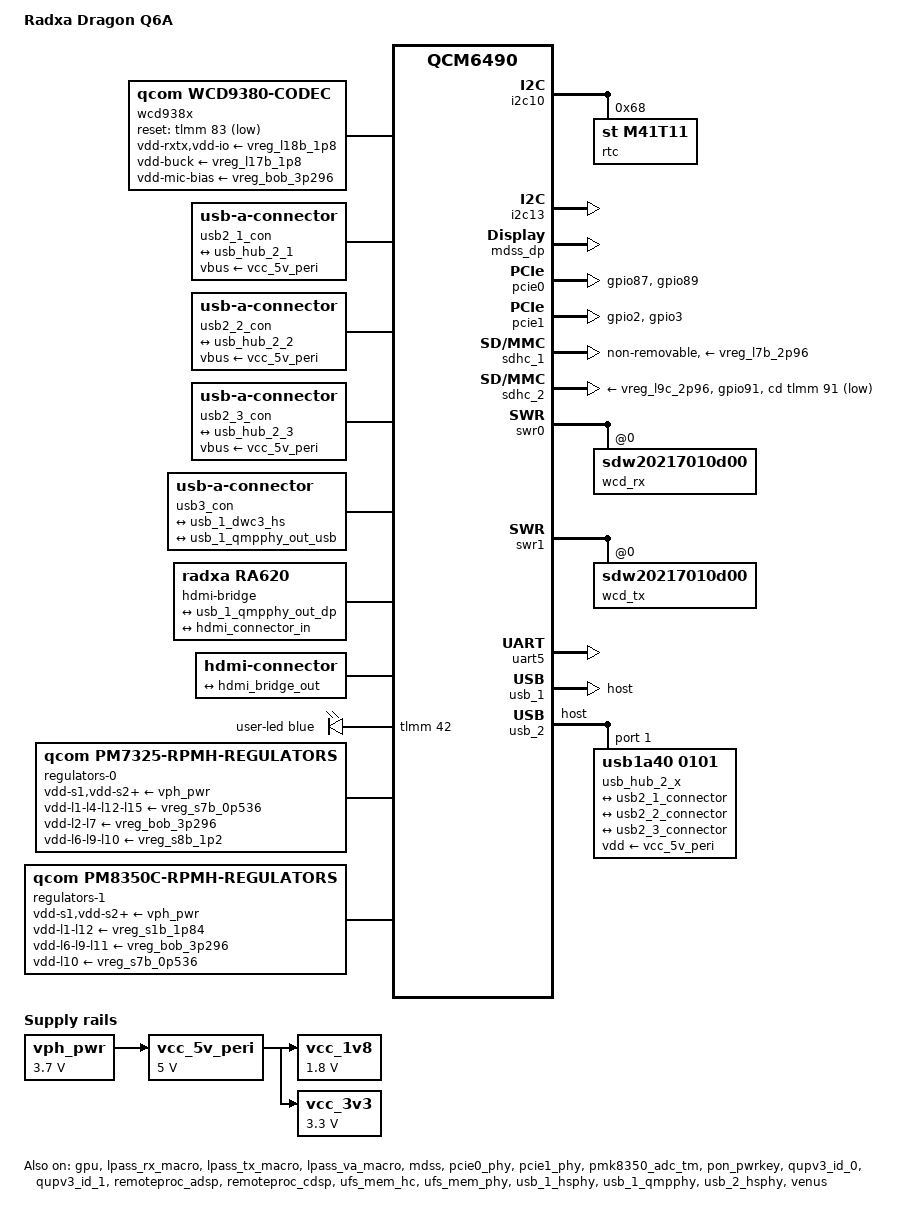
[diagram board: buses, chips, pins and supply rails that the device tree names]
// SPDX-License-Identifier: BSD-3-Clause
/*
 * Copyright (c) 2025 Radxa Computer (Shenzhen) Co., Ltd.
 */

/dts-v1/;

/* PM7250B is configured to use SID8/9 */
#define PM7250B_SID 8
#define PM7250B_SID1 9

#include <dt-bindings/iio/qcom,spmi-adc7-pmk8350.h>
#include <dt-bindings/iio/qcom,spmi-adc7-pm7325.h>
#include <dt-bindings/leds/common.h>
#include <dt-bindings/pinctrl/qcom,pmic-gpio.h>
#include <dt-bindings/regulator/qcom,rpmh-regulator.h>
#include "kodiak.dtsi"
#include "pm7250b.dtsi"
#include "pm7325.dtsi"
#include "pm8350c.dtsi" /* PM7350C */
#include "pmk8350.dtsi" /* PMK7325 */
#include "qcs6490-audioreach.dtsi"

/delete-node/ &adsp_mem;
/delete-node/ &adsp_rpc_remote_heap_mem;
/delete-node/ &cdsp_mem;
/delete-node/ &gpu_zap_mem;
/delete-node/ &ipa_fw_mem;
/delete-node/ &mpss_mem;
/delete-node/ &remoteproc_mpss;
/delete-node/ &remoteproc_wpss;
/delete-node/ &rmtfs_mem;
/delete-node/ &video_mem;
/delete-node/ &wifi;
/delete-node/ &wlan_ce_mem;
/delete-node/ &wlan_fw_mem;
/delete-node/ &wpss_mem;

/ {
	model = "Radxa Dragon Q6A";
	compatible = "radxa,dragon-q6a", "qcom,qcm6490";
	chassis-type = "embedded";

	aliases {
		mmc0 = &sdhc_1;
		mmc1 = &sdhc_2;
		serial0 = &uart5;
	};

	wcd938x: audio-codec {
		compatible = "qcom,wcd9380-codec";

		pinctrl-0 = <&wcd_default>;
		pinctrl-names = "default";

		reset-gpios = <&tlmm 83 GPIO_ACTIVE_LOW>;

		vdd-rxtx-supply = <&vreg_l18b_1p8>;
		vdd-io-supply = <&vreg_l18b_1p8>;
		vdd-buck-supply = <&vreg_l17b_1p8>;
		vdd-mic-bias-supply = <&vreg_bob_3p296>;

		qcom,micbias1-microvolt = <1800000>;
		qcom,micbias2-microvolt = <1800000>;
		qcom,micbias3-microvolt = <1800000>;
		qcom,micbias4-microvolt = <1800000>;
		qcom,mbhc-buttons-vthreshold-microvolt = <75000 150000 237000 500000 500000 500000 500000 500000>;
		qcom,mbhc-headset-vthreshold-microvolt = <1700000>;
		qcom,mbhc-headphone-vthreshold-microvolt = <50000>;
		qcom,rx-device = <&wcd_rx>;
		qcom,tx-device = <&wcd_tx>;

		qcom,hphl-jack-type-normally-closed;

		#sound-dai-cells = <1>;
	};

	chosen {
		stdout-path = "serial0:115200n8";
	};

	usb2_1_con: connector-0 {
		compatible = "usb-a-connector";
		vbus-supply = <&vcc_5v_peri>;

		port {
			usb2_1_connector: endpoint {
				remote-endpoint = <&usb_hub_2_1>;
			};
		};
	};

	usb2_2_con: connector-1 {
		compatible = "usb-a-connector";
		vbus-supply = <&vcc_5v_peri>;

		port {
			usb2_2_connector: endpoint {
				remote-endpoint = <&usb_hub_2_2>;
			};
		};
	};

	usb2_3_con: connector-2 {
		compatible = "usb-a-connector";
		vbus-supply = <&vcc_5v_peri>;

		port {
			usb2_3_connector: endpoint {
				remote-endpoint = <&usb_hub_2_3>;
			};
		};
	};

	usb3_con: connector {
		compatible = "usb-a-connector";

		ports {
			#address-cells = <1>;
			#size-cells = <0>;

			port@0 {
				reg = <0>;

				usb3_con_hs_in: endpoint {
					remote-endpoint = <&usb_1_dwc3_hs>;
				};
			};

			port@1 {
				reg = <1>;

				usb3_con_ss_in: endpoint {
					remote-endpoint = <&usb_1_qmpphy_out_usb>;
				};
			};
		};
	};

	hdmi-bridge {
		compatible = "radxa,ra620";

		pinctrl-0 = <&dp_hot_plug_det>;
		pinctrl-names = "default";

		ports {
			#address-cells = <1>;
			#size-cells = <0>;

			port@0 {
				reg = <0>;

				hdmi_bridge_in: endpoint {
					remote-endpoint = <&usb_1_qmpphy_out_dp>;
				};
			};

			port@1 {
				reg = <1>;

				hdmi_bridge_out: endpoint {
					remote-endpoint = <&hdmi_connector_in>;
				};
			};
		};
	};

	hdmi-connector {
		compatible = "hdmi-connector";
		label = "hdmi";
		type = "a";

		port {
			hdmi_connector_in: endpoint {
				remote-endpoint = <&hdmi_bridge_out>;
			};
		};
	};

	leds {
		compatible = "gpio-leds";

		pinctrl-0 = <&user_led>;
		pinctrl-names = "default";

		user-led {
			color = <LED_COLOR_ID_BLUE>;
			function = LED_FUNCTION_STATUS;
			gpios = <&tlmm 42 GPIO_ACTIVE_HIGH>;
			linux,default-trigger = "heartbeat";
		};
	};

	reserved-memory {
		lpass_ml_mem: lpass-ml@81800000 {
			reg = <0x0 0x81800000 0x0 0xf00000>;
			no-map;
		};

		cdsp_secure_heap_mem: cdsp-secure-heap@82700000 {
			reg = <0x0 0x82700000 0x0 0x10000>;
			no-map;
		};

		video_mem: video@85b00000 {
			reg = <0x0 0x85b00000 0x0 0x700000>;
			no-map;
		};

		adsp_mem: adsp@8b800000 {
			reg = <0x0 0x8b800000 0x0 0x2800000>;
			no-map;
		};

		cdsp_mem: cdsp@8e000000 {
			reg = <0x0 0x8e000000 0x0 0x1e00000>;
			no-map;
		};

		gpu_zap_mem: zap@90300000 {
			reg = <0x0 0x90300000 0x0 0x5000>;
			no-map;
		};

		tz_stat_mem: tz-stat@c0000000 {
			reg = <0x0 0xc0000000 0x0 0x100000>;
			no-map;
		};

		tags_mem: tags@c0100000 {
			reg = <0x0 0xc0100000 0x0 0x1200000>;
			no-map;
		};

		qtee_mem: qtee@c1300000 {
			reg = <0x0 0xc1300000 0x0 0x500000>;
			no-map;
		};

		trusted_apps_mem: trusted-apps@c1800000 {
			reg = <0x0 0xc1800000 0x0 0x2200000>;
			no-map;
		};

		adsp_rpc_remote_heap_mem: adsp-rpc-remote-heap@c6500000 {
			reg = <0x0 0xc6500000 0x0 0x800000>;
			no-map;
		};

		iris_iova: iris-iova {
			iommu-addresses = <&venus 0x0 0x0 0x0 0x25800000>;
		};
	};

	thermal-zones {
		msm-skin-thermal {
			polling-delay-passive = <0>;
			thermal-sensors = <&pmk8350_adc_tm 2>;
		};

		quiet-thermal {
			polling-delay-passive = <0>;
			thermal-sensors = <&pmk8350_adc_tm 1>;
		};

		ufs-thermal {
			polling-delay-passive = <0>;
			thermal-sensors = <&pmk8350_adc_tm 3>;
		};

		xo-thermal {
			polling-delay-passive = <0>;
			thermal-sensors = <&pmk8350_adc_tm 0>;
		};
	};

	vcc_1v8: regulator-vcc-1v8 {
		compatible = "regulator-fixed";
		regulator-name = "vcc_1v8";
		regulator-min-microvolt = <1800000>;
		regulator-max-microvolt = <1800000>;
		vin-supply = <&vcc_5v_peri>;

		regulator-boot-on;
		regulator-always-on;
	};

	vcc_3v3: regulator-vcc-3v3 {
		compatible = "regulator-fixed";
		regulator-name = "vcc_3v3";
		regulator-min-microvolt = <3300000>;
		regulator-max-microvolt = <3300000>;
		vin-supply = <&vcc_5v_peri>;

		regulator-boot-on;
		regulator-always-on;
	};

	vcc_5v_peri: regulator-vcc-5v-peri {
		compatible = "regulator-fixed";
		regulator-name = "vcc_5v_peri";
		regulator-min-microvolt = <5000000>;
		regulator-max-microvolt = <5000000>;
		vin-supply = <&vph_pwr>;

		regulator-boot-on;
		regulator-always-on;
	};

	vph_pwr: regulator-vph-pwr {
		compatible = "regulator-fixed";
		regulator-name = "vph_pwr";
		regulator-min-microvolt = <3700000>;
		regulator-max-microvolt = <3700000>;

		regulator-boot-on;
		regulator-always-on;
	};
};

&apps_rsc {
	regulators-0 {
		compatible = "qcom,pm7325-rpmh-regulators";
		qcom,pmic-id = "b";

		vdd-s1-supply = <&vph_pwr>;
		vdd-s2-supply = <&vph_pwr>;
		vdd-s3-supply = <&vph_pwr>;
		vdd-s4-supply = <&vph_pwr>;
		vdd-s5-supply = <&vph_pwr>;
		vdd-s6-supply = <&vph_pwr>;
		vdd-s7-supply = <&vph_pwr>;
		vdd-s8-supply = <&vph_pwr>;
		vdd-l1-l4-l12-l15-supply = <&vreg_s7b_0p536>;
		vdd-l2-l7-supply = <&vreg_bob_3p296>;
		vdd-l6-l9-l10-supply = <&vreg_s8b_1p2>;
		vdd-l11-l17-l18-l19-supply = <&vreg_s1b_1p84>;

		vreg_s1b_1p84: smps1 {
			regulator-name = "vreg_s1b_1p84";
			regulator-min-microvolt = <1840000>;
			regulator-max-microvolt = <2040000>;
		};

		vreg_s7b_0p536: smps7 {
			regulator-name = "vreg_s7b_0p536";
			regulator-min-microvolt = <536000>;
			regulator-max-microvolt = <1120000>;
		};

		vreg_s8b_1p2: smps8 {
			regulator-name = "vreg_s8b_1p2";
			regulator-min-microvolt = <1200000>;
			regulator-max-microvolt = <1496000>;
			regulator-initial-mode = <RPMH_REGULATOR_MODE_RET>;
		};

		vreg_l1b_0p912: ldo1 {
			regulator-name = "vreg_l1b_0p912";
			regulator-min-microvolt = <832000>;
			regulator-max-microvolt = <920000>;
			regulator-initial-mode = <RPMH_REGULATOR_MODE_HPM>;
			regulator-allow-set-load;
			regulator-allowed-modes = <RPMH_REGULATOR_MODE_LPM
							RPMH_REGULATOR_MODE_HPM>;
		};

		vreg_l2b_3p072: ldo2 {
			regulator-name = "vreg_l2b_3p072";
			regulator-min-microvolt = <2704000>;
			regulator-max-microvolt = <3544000>;
			regulator-initial-mode = <RPMH_REGULATOR_MODE_HPM>;
			regulator-allow-set-load;
			regulator-allowed-modes = <RPMH_REGULATOR_MODE_LPM
							RPMH_REGULATOR_MODE_HPM>;
		};

		vreg_l6b_1p2: ldo6 {
			regulator-name = "vreg_l6b_1p2";
			regulator-min-microvolt = <1200000>;
			regulator-max-microvolt = <1256000>;
			regulator-initial-mode = <RPMH_REGULATOR_MODE_HPM>;
			regulator-allow-set-load;
			regulator-allowed-modes = <RPMH_REGULATOR_MODE_LPM
							RPMH_REGULATOR_MODE_HPM>;
		};

		vreg_l7b_2p96: ldo7 {
			regulator-name = "vreg_l7b_2p96";
			regulator-min-microvolt = <2960000>;
			regulator-max-microvolt = <2960000>;
			regulator-initial-mode = <RPMH_REGULATOR_MODE_HPM>;
			regulator-allow-set-load;
			regulator-allowed-modes = <RPMH_REGULATOR_MODE_LPM
							RPMH_REGULATOR_MODE_HPM>;
		};

		vreg_l9b_1p2: ldo9 {
			regulator-name = "vreg_l9b_1p2";
			regulator-min-microvolt = <1200000>;
			regulator-max-microvolt = <1304000>;
			regulator-initial-mode = <RPMH_REGULATOR_MODE_HPM>;
			regulator-allow-set-load;
			regulator-allowed-modes = <RPMH_REGULATOR_MODE_LPM
						   RPMH_REGULATOR_MODE_HPM>;
		};

		vreg_l17b_1p8: ldo17 {
			regulator-name = "vreg_l17b_1p8";
			regulator-min-microvolt = <1800000>;
			regulator-max-microvolt = <1896000>;
			regulator-initial-mode = <RPMH_REGULATOR_MODE_HPM>;
		};

		vreg_l18b_1p8: ldo18 {
			regulator-name = "vreg_l18b_1p8";
			regulator-min-microvolt = <1800000>;
			regulator-max-microvolt = <2000000>;
			regulator-initial-mode = <RPMH_REGULATOR_MODE_HPM>;
			regulator-always-on;
		};

		vreg_l19b_1p8: ldo19 {
			regulator-name = "vreg_l19b_1p8";
			regulator-min-microvolt = <1800000>;
			regulator-max-microvolt = <2000000>;
			regulator-initial-mode = <RPMH_REGULATOR_MODE_HPM>;
			regulator-allow-set-load;
			regulator-allowed-modes = <RPMH_REGULATOR_MODE_LPM
						   RPMH_REGULATOR_MODE_HPM>;
		};
	};

	regulators-1 {
		compatible = "qcom,pm8350c-rpmh-regulators";
		qcom,pmic-id = "c";

		vdd-s1-supply = <&vph_pwr>;
		vdd-s2-supply = <&vph_pwr>;
		vdd-s3-supply = <&vph_pwr>;
		vdd-s4-supply = <&vph_pwr>;
		vdd-s5-supply = <&vph_pwr>;
		vdd-s6-supply = <&vph_pwr>;
		vdd-s7-supply = <&vph_pwr>;
		vdd-s8-supply = <&vph_pwr>;
		vdd-s9-supply = <&vph_pwr>;
		vdd-s10-supply = <&vph_pwr>;
		vdd-l1-l12-supply = <&vreg_s1b_1p84>;
		vdd-l6-l9-l11-supply = <&vreg_bob_3p296>;
		vdd-l10-supply = <&vreg_s7b_0p536>;
		vdd-bob-supply = <&vph_pwr>;

		vreg_l1c_1p8: ldo1 {
			regulator-name = "vreg_l1c_1p8";
			regulator-min-microvolt = <1800000>;
			regulator-max-microvolt = <1976000>;
			regulator-initial-mode = <RPMH_REGULATOR_MODE_HPM>;
			regulator-allow-set-load;
			regulator-allowed-modes = <RPMH_REGULATOR_MODE_LPM
						   RPMH_REGULATOR_MODE_HPM>;
		};

		vreg_l6c_2p96: ldo6 {
			regulator-name = "vreg_l6c_2p96";
			regulator-min-microvolt = <1650000>;
			regulator-max-microvolt = <3544000>;
			regulator-initial-mode = <RPMH_REGULATOR_MODE_HPM>;
			regulator-allow-set-load;
			regulator-allowed-modes = <RPMH_REGULATOR_MODE_LPM
						   RPMH_REGULATOR_MODE_HPM>;
		};

		vreg_l9c_2p96: ldo9 {
			regulator-name = "vreg_l9c_2p96";
			regulator-min-microvolt = <2704000>;
			regulator-max-microvolt = <3544000>;
			regulator-initial-mode = <RPMH_REGULATOR_MODE_HPM>;
			regulator-allow-set-load;
			regulator-allowed-modes = <RPMH_REGULATOR_MODE_LPM
						   RPMH_REGULATOR_MODE_HPM>;
		};

		vreg_l10c_0p88: ldo10 {
			regulator-name = "vreg_l10c_0p88";
			regulator-min-microvolt = <720000>;
			regulator-max-microvolt = <1048000>;
			regulator-initial-mode = <RPMH_REGULATOR_MODE_HPM>;
			regulator-allow-set-load;
			regulator-allowed-modes = <RPMH_REGULATOR_MODE_LPM
						   RPMH_REGULATOR_MODE_HPM>;
		};

		vreg_bob_3p296: bob {
			regulator-name = "vreg_bob_3p296";
			regulator-min-microvolt = <3032000>;
			regulator-max-microvolt = <3960000>;
		};
	};
};

&gcc {
	protected-clocks = <GCC_CFG_NOC_LPASS_CLK>,
			   <GCC_MSS_CFG_AHB_CLK>,
			   <GCC_MSS_GPLL0_MAIN_DIV_CLK_SRC>,
			   <GCC_MSS_OFFLINE_AXI_CLK>,
			   <GCC_MSS_Q6SS_BOOT_CLK_SRC>,
			   <GCC_MSS_Q6_MEMNOC_AXI_CLK>,
			   <GCC_MSS_SNOC_AXI_CLK>,
			   <GCC_QSPI_CNOC_PERIPH_AHB_CLK>,
			   <GCC_QSPI_CORE_CLK>,
			   <GCC_QSPI_CORE_CLK_SRC>,
			   <GCC_SEC_CTRL_CLK_SRC>,
			   <GCC_WPSS_AHB_BDG_MST_CLK>,
			   <GCC_WPSS_AHB_CLK>,
			   <GCC_WPSS_RSCP_CLK>;
};

&gpi_dma0 {
	status = "okay";
};

&gpi_dma1 {
	status = "okay";
};

&gpu {
	status = "okay";
};

&gpu_zap_shader {
	firmware-name = "qcom/qcs6490/a660_zap.mbn";
};

&i2c10 {
	qcom,enable-gsi-dma;
	status = "okay";

	rtc: rtc@68 {
		compatible = "st,m41t11";
		reg = <0x68>;
	};
};

/* External touchscreen */
&i2c13 {
	qcom,enable-gsi-dma;
	status = "okay";
};

&lpass_audiocc {
	compatible = "qcom,qcm6490-lpassaudiocc";
	/delete-property/ power-domains;
};

&lpass_rx_macro {
	status = "okay";
};

&lpass_tx_macro {
	status = "okay";
};

&lpass_va_macro {
	status = "okay";
};

&mdss {
	status = "okay";
};

&mdss_dp {
	sound-name-prefix = "Display Port0";

	status = "okay";
};

&mdss_dp_out {
	data-lanes = <0 1>;
	remote-endpoint = <&usb_dp_qmpphy_dp_in>;
};

&pcie0 {
	perst-gpios = <&tlmm 87 GPIO_ACTIVE_LOW>;
	wake-gpios = <&tlmm 89 GPIO_ACTIVE_HIGH>;

	pinctrl-0 = <&pcie0_clkreq_n>, <&pcie0_reset_n>, <&pcie0_wake_n>;
	pinctrl-names = "default";

	status = "okay";
};

&pcie0_phy {
	vdda-phy-supply = <&vreg_l10c_0p88>;
	vdda-pll-supply = <&vreg_l6b_1p2>;

	status = "okay";
};

&pcie1 {
	perst-gpios = <&tlmm 2 GPIO_ACTIVE_LOW>;
	wake-gpios = <&tlmm 3 GPIO_ACTIVE_HIGH>;

	pinctrl-0 = <&pcie1_clkreq_n>, <&pcie1_reset_n>, <&pcie1_wake_n>;
	pinctrl-names = "default";

	/*
	* Support for many different bus topologies
	* Tested devices:
	* - QPS615 PCIe switch
	* - ASM1182e PCIe switch
	* - ASM2824 PCIe switch
	* - NVIDIA dGPU
	* - Chelsio T520-CR
	*/
	iommu-map = <0x0 &apps_smmu 0x1c80 0x1>,
			<0x100 &apps_smmu 0x1c80 0x1>,
			<0x101 &apps_smmu 0x1c80 0x1>,
			<0x102 &apps_smmu 0x1c80 0x1>,
			<0x103 &apps_smmu 0x1c80 0x1>,
			<0x104 &apps_smmu 0x1c80 0x1>,
			<0x105 &apps_smmu 0x1c80 0x1>,
			<0x106 &apps_smmu 0x1c80 0x1>,
			<0x200 &apps_smmu 0x1c80 0x1>,
			<0x208 &apps_smmu 0x1c80 0x1>,
			<0x210 &apps_smmu 0x1c80 0x1>,
			<0x218 &apps_smmu 0x1c80 0x1>,
			<0x220 &apps_smmu 0x1c80 0x1>,
			<0x238 &apps_smmu 0x1c80 0x1>,
			<0x240 &apps_smmu 0x1c80 0x1>,
			<0x260 &apps_smmu 0x1c80 0x1>,
			<0x300 &apps_smmu 0x1c80 0x1>,
			<0x400 &apps_smmu 0x1c80 0x1>,
			<0x500 &apps_smmu 0x1c80 0x1>,
			<0x501 &apps_smmu 0x1c80 0x1>,
			<0x600 &apps_smmu 0x1c80 0x1>;

	status = "okay";
};

&pcie1_phy {
	vdda-phy-supply = <&vreg_l10c_0p88>;
	vdda-pll-supply = <&vreg_l6b_1p2>;

	status = "okay";
};

&pm7325_gpios {
	pinctrl-0 = <&hardware_version_sel>;
	pinctrl-names = "default";
	gpio-line-names = "",	/* GPIO_01 */
			  "UFS_THERM",
			  "Version_ADC",
			  "",
			  "",
			  "KYPD_VOL_UP_N",
			  "Version_SEL",
			  "",
			  "MICRO USB DET",
			  "";

	hardware_version_sel: hardware-version-sel-state {
		pins = "gpio7";
		function = PMIC_GPIO_FUNC_NORMAL;
		bias-high-impedance;
		power-source = <1>;
	};
};

&pm7325_temp_alarm {
	io-channels = <&pmk8350_vadc PM7325_ADC7_DIE_TEMP>;
	io-channel-names = "thermal";
};

&pmk8350_adc_tm {
	status = "okay";

	xo-therm@0 {
		reg = <0>;
		io-channels = <&pmk8350_vadc PMK8350_ADC7_AMUX_THM1_100K_PU>;
		qcom,ratiometric;
		qcom,hw-settle-time-us = <200>;
	};

	quiet-therm@1 {
		reg = <1>;
		io-channels = <&pmk8350_vadc PM7325_ADC7_AMUX_THM1_100K_PU>;
		qcom,ratiometric;
		qcom,hw-settle-time-us = <200>;
	};

	msm-skin-therm@2 {
		reg = <2>;
		io-channels = <&pmk8350_vadc PM7325_ADC7_AMUX_THM3_100K_PU>;
		qcom,ratiometric;
		qcom,hw-settle-time-us = <200>;
	};

	ufs-therm@3 {
		reg = <3>;
		io-channels = <&pmk8350_vadc PM7325_ADC7_GPIO1_100K_PU>;
		qcom,ratiometric;
		qcom,hw-settle-time-us = <200>;
	};
};

&pmk8350_vadc {
	channel@3 {
		reg = <PMK8350_ADC7_DIE_TEMP>;
		label = "pmk7325_die_temp";
		qcom,pre-scaling = <1 1>;
	};

	channel@44 {
		reg = <PMK8350_ADC7_AMUX_THM1_100K_PU>;
		label = "xo_therm";
		qcom,hw-settle-time = <200>;
		qcom,pre-scaling = <1 1>;
		qcom,ratiometric;
	};

	channel@103 {
		reg = <PM7325_ADC7_DIE_TEMP>;
		label = "pm7325_die_temp";
		qcom,pre-scaling = <1 1>;
	};

	channel@10b {
		reg = <PM7325_ADC7_GPIO2>;
		qcom,hw-settle-time = <200>;
		qcom,pre-scaling = <1 1>;
		label = "hardware_version_adc";
	};

	channel@144 {
		reg = <PM7325_ADC7_AMUX_THM1_100K_PU>;
		qcom,ratiometric;
		qcom,hw-settle-time = <200>;
		qcom,pre-scaling = <1 1>;
		label = "quiet_therm";
	};

	channel@146 {
		reg = <PM7325_ADC7_AMUX_THM3_100K_PU>;
		qcom,ratiometric;
		qcom,hw-settle-time = <200>;
		qcom,pre-scaling = <1 1>;
		label = "msm_skin_therm";
	};

	channel@14a {
		/* According to datasheet, 0x4a = AMUX1_GPIO = GPIO_02 */
		reg = <PM7325_ADC7_GPIO1_100K_PU>;
		qcom,ratiometric;
		qcom,hw-settle-time = <200>;
		qcom,pre-scaling = <1 1>;
		label = "ufs_therm";
	};
};

&pon_pwrkey {
	status = "okay";
};

&qupv3_id_0 {
	firmware-name = "qcom/qcm6490/qupv3fw.elf";
	status = "okay";
};

&qupv3_id_1 {
	firmware-name = "qcom/qcm6490/qupv3fw.elf";
	status = "okay";
};

&remoteproc_adsp {
	firmware-name = "qcom/qcs6490/radxa/dragon-q6a/adsp.mbn";
	status = "okay";
};

&remoteproc_cdsp {
	firmware-name = "qcom/qcs6490/radxa/dragon-q6a/cdsp.mbn";
	status = "okay";
};

&sdhc_1 {
	non-removable;
	no-sd;
	no-sdio;

	vmmc-supply = <&vreg_l7b_2p96>;
	vqmmc-supply = <&vreg_l19b_1p8>;

	status = "okay";
};

&sdhc_2 {
	pinctrl-0 = <&sdc2_clk>, <&sdc2_cmd>, <&sdc2_data>, <&sd_cd>;
	pinctrl-1 = <&sdc2_clk_sleep>, <&sdc2_cmd_sleep>, <&sdc2_data_sleep>, <&sd_cd>;

	vmmc-supply = <&vreg_l9c_2p96>;
	vqmmc-supply = <&vreg_l6c_2p96>;

	cd-gpios = <&tlmm 91 GPIO_ACTIVE_LOW>;
	status = "okay";
};

&sound {
	compatible = "qcom,qcs6490-rb3gen2-sndcard";
	model = "QCS6490-Radxa-Dragon-Q6A";

	audio-routing = "IN1_HPHL", "HPHL_OUT",
			"IN2_HPHR", "HPHR_OUT",
			"AMIC2", "MIC BIAS2",
			"TX SWR_ADC1", "ADC2_OUTPUT";

	dp0-dai-link {
		link-name = "DP0 Playback";

		codec {
			sound-dai = <&mdss_dp>;
		};

		cpu {
			sound-dai = <&q6apmbedai DISPLAY_PORT_RX_0>;
		};

		platform {
			sound-dai = <&q6apm>;
		};
	};

	wcd-playback-dai-link {
		link-name = "WCD Playback";

		codec {
			sound-dai = <&wcd938x 0>, <&swr0 0>, <&lpass_rx_macro 0>;
		};

		cpu {
			sound-dai = <&q6apmbedai RX_CODEC_DMA_RX_0>;
		};

		platform {
			sound-dai = <&q6apm>;
		};
	};

	wcd-capture-dai-link {
		link-name = "WCD Capture";

		codec {
			sound-dai = <&wcd938x 1>, <&swr1 0>, <&lpass_tx_macro 0>;
		};

		cpu {
			sound-dai = <&q6apmbedai TX_CODEC_DMA_TX_3>;
		};

		platform {
			sound-dai = <&q6apm>;
		};
	};
};

&swr0 {
	status = "okay";

	wcd_rx: codec@0,4 {
		compatible = "sdw20217010d00";
		reg = <0 4>;
		qcom,rx-port-mapping = <1 2 3 4 5>;
	};
};

&swr1 {
	status = "okay";

	wcd_tx: codec@0,3 {
		compatible = "sdw20217010d00";
		reg = <0 3>;
		qcom,tx-port-mapping = <1 1 2 3>;
	};
};

&tlmm {
	/*
	 * 12-17: reserved for QSPI flash
	 */
	gpio-reserved-ranges = <12 6>;
	gpio-line-names =
		/* GPIO_0 ~ GPIO_3 */
		"PIN_13", "PIN_15", "", "",
		/* GPIO_4 ~ GPIO_7 */
		"", "", "", "",
		/* GPIO_8 ~ GPIO_11 */
		"PIN_27", "PIN_28", "", "",
		/* GPIO_12 ~ GPIO_15 */
		"", "", "", "",
		/* GPIO_16 ~ GPIO_19 */
		"", "", "", "",
		/* GPIO_20 ~ GPIO_23 */
		"", "", "PIN_8", "PIN_10",
		/* GPIO_24 ~ GPIO_27 */
		"PIN_3", "PIN_5", "PIN_16", "PIN_18",
		/* GPIO_28 ~ GPIO_31 */
		"PIN_31", "PIN_11", "PIN_32", "PIN_29",
		/* GPIO_32 ~ GPIO_35 */
		"", "", "", "",
		/* GPIO_36 ~ GPIO_39 */
		"", "", "", "",
		/* GPIO_40 ~ GPIO_43 */
		"", "", "", "",
		/* GPIO_44 ~ GPIO_47 */
		"", "", "", "",
		/* GPIO_48 ~ GPIO_51 */
		"PIN_21", "PIN_19", "PIN_23", "PIN_24",
		/* GPIO_52 ~ GPIO_55 */
		"", "", "", "PIN_26",
		/* GPIO_56 ~ GPIO_59 */
		"PIN_33", "PIN_22", "PIN_37", "PIN_36",
		/* GPIO_60 ~ GPIO_63 */
		"", "", "", "",
		/* GPIO_64 ~ GPIO_67 */
		"", "", "", "",
		/* GPIO_68 ~ GPIO_71 */
		"", "", "", "",
		/* GPIO_72 ~ GPIO_75 */
		"", "", "", "",
		/* GPIO_76 ~ GPIO_79 */
		"", "", "", "",
		/* GPIO_80 ~ GPIO_83 */
		"", "", "", "",
		/* GPIO_84 ~ GPIO_87 */
		"", "", "", "",
		/* GPIO_88 ~ GPIO_91 */
		"", "", "", "",
		/* GPIO_92 ~ GPIO_95 */
		"", "", "", "",
		/* GPIO_96 ~ GPIO_99 */
		"PIN_7", "PIN_12", "PIN_38", "PIN_40",
		/* GPIO_100 ~ GPIO_103 */
		"PIN_35", "", "", "",
		/* GPIO_104 ~ GPIO_107 */
		"", "", "", "",
		/* GPIO_108 ~ GPIO_111 */
		"", "", "", "",
		/* GPIO_112 ~ GPIO_115 */
		"", "", "", "",
		/* GPIO_116 ~ GPIO_119 */
		"", "", "", "",
		/* GPIO_120 ~ GPIO_123 */
		"", "", "", "",
		/* GPIO_124 ~ GPIO_127 */
		"", "", "", "",
		/* GPIO_128 ~ GPIO_131 */
		"", "", "", "",
		/* GPIO_132 ~ GPIO_135 */
		"", "", "", "",
		/* GPIO_136 ~ GPIO_139 */
		"", "", "", "",
		/* GPIO_140 ~ GPIO_143 */
		"", "", "", "",
		/* GPIO_144 ~ GPIO_147 */
		"", "", "", "",
		/* GPIO_148 ~ GPIO_151 */
		"", "", "", "",
		/* GPIO_152 ~ GPIO_155 */
		"", "", "", "",
		/* GPIO_156 ~ GPIO_159 */
		"", "", "", "",
		/* GPIO_160 ~ GPIO_163 */
		"", "", "", "",
		/* GPIO_164 ~ GPIO_167 */
		"", "", "", "",
		/* GPIO_168 ~ GPIO_171 */
		"", "", "", "",
		/* GPIO_172 ~ GPIO_174 */
		"", "", "";

	pcie0_reset_n: pcie0-reset-n-state {
		pins = "gpio87";
		function = "gpio";
		drive-strength = <2>;
		bias-disable;
	};

	pcie0_wake_n: pcie0-wake-n-state {
		pins = "gpio89";
		function = "gpio";
		drive-strength = <2>;
		bias-pull-up;
	};

	pcie1_reset_n: pcie1-reset-n-state {
		pins = "gpio2";
		function = "gpio";
		drive-strength = <2>;
		bias-disable;
	};

	pcie1_wake_n: pcie1-wake-n-state {
		pins = "gpio3";
		function = "gpio";
		drive-strength = <2>;
		bias-pull-up;
	};

	sd_cd: sd-cd-state {
		pins = "gpio91";
		function = "gpio";
		bias-pull-up;
	};

	user_led: user-led-state {
		pins = "gpio42";
		function = "gpio";
		bias-pull-up;
	};

	wcd_default: wcd-reset-n-active-state {
		pins = "gpio83";
		function = "gpio";
		drive-strength = <16>;
		bias-disable;
		output-low;
	};
};

&uart5 {
	status = "okay";
};

&ufs_mem_hc {
	reset-gpios = <&tlmm 175 GPIO_ACTIVE_LOW>;
	vcc-supply = <&vreg_l7b_2p96>;
	vcc-max-microamp = <800000>;
	vccq-supply = <&vreg_l9b_1p2>;
	vccq-max-microamp = <900000>;
	vccq2-supply = <&vreg_l9b_1p2>;
	vccq2-max-microamp = <1300000>;

	/* Gear-4 Rate-B is unstable due to board */
	/* and UFS module design limitations */
	limit-gear-rate = "rate-a";

	status = "okay";
};

&ufs_mem_phy {
	vdda-phy-supply = <&vreg_l10c_0p88>;
	vdda-pll-supply = <&vreg_l6b_1p2>;

	status = "okay";
};

&usb_1 {
	dr_mode = "host";

	status = "okay";
};

&usb_1_dwc3_hs {
	remote-endpoint = <&usb3_con_hs_in>;
};

&usb_1_hsphy {
	vdda-pll-supply = <&vreg_l10c_0p88>;
	vdda33-supply = <&vreg_l2b_3p072>;
	vdda18-supply = <&vreg_l1c_1p8>;

	status = "okay";
};

&usb_1_qmpphy {
	vdda-phy-supply = <&vreg_l6b_1p2>;
	vdda-pll-supply = <&vreg_l1b_0p912>;

	/delete-property/ orientation-switch;

	status = "okay";

	ports {
		port@0 {
			#address-cells = <1>;
			#size-cells = <0>;

			/delete-node/ endpoint;

			/* RX0/TX0 is statically connected to RA620 bridge */
			usb_1_qmpphy_out_dp: endpoint@0 {
				reg = <0>;

				data-lanes = <0 1>;
				remote-endpoint = <&hdmi_bridge_in>;
			};

			/* RX1/TX1 is statically connected to USB-A port */
			usb_1_qmpphy_out_usb: endpoint@1 {
				reg = <1>;

				data-lanes = <2 3>;
				remote-endpoint = <&usb3_con_ss_in>;
			};
		};
	};
};

&usb_2 {
	dr_mode = "host";

	#address-cells = <1>;
	#size-cells = <0>;

	status = "okay";

	/* Onboard USB 2.0 hub */
	usb_hub_2_x: hub@1 {
		compatible = "usb1a40,0101";
		reg = <1>;
		vdd-supply = <&vcc_5v_peri>;
		#address-cells = <1>;
		#size-cells = <0>;

		ports {
			#address-cells = <1>;
			#size-cells = <0>;

			port@1 {
				reg = <1>;

				usb_hub_2_1: endpoint {
					remote-endpoint = <&usb2_1_connector>;
				};
			};

			port@2 {
				reg = <2>;

				usb_hub_2_2: endpoint {
					remote-endpoint = <&usb2_2_connector>;
				};
			};

			port@3 {
				reg = <3>;

				usb_hub_2_3: endpoint {
					remote-endpoint = <&usb2_3_connector>;
				};
			};
		};

		/* FCU760K Wi-Fi & Bluetooth module */
		wifi@4 {
			compatible = "usba69c,8d80";
			reg = <4>;
		};
	};
};

&usb_2_hsphy {
	vdda-pll-supply = <&vreg_l10c_0p88>;
	vdda33-supply = <&vreg_l2b_3p072>;
	vdda18-supply = <&vreg_l1c_1p8>;

	status = "okay";
};

&venus {
	firmware-name = "qcom/vpu/vpu20_p1_gen2_s6.mbn";
	memory-region = <&video_mem>, <&iris_iova>;

	status = "okay";
};

/* PINCTRL - additions to nodes defined in sc7280.dtsi */
&dp_hot_plug_det {
	bias-disable;
};

&pcie0_clkreq_n {
	bias-pull-up;
	drive-strength = <2>;
};

&pcie1_clkreq_n {
	bias-pull-up;
	drive-strength = <2>;
};

&sdc1_clk {
	bias-disable;
	drive-strength = <16>;
};

&sdc1_cmd {
	bias-pull-up;
	drive-strength = <10>;
};

&sdc1_data {
	bias-pull-up;
	drive-strength = <10>;
};

&sdc1_rclk {
	bias-pull-down;
};

&sdc2_clk {
	bias-disable;
	drive-strength = <16>;
};

&sdc2_cmd {
	bias-pull-up;
	drive-strength = <10>;
};

&sdc2_data {
	bias-pull-up;
	drive-strength = <10>;
};
